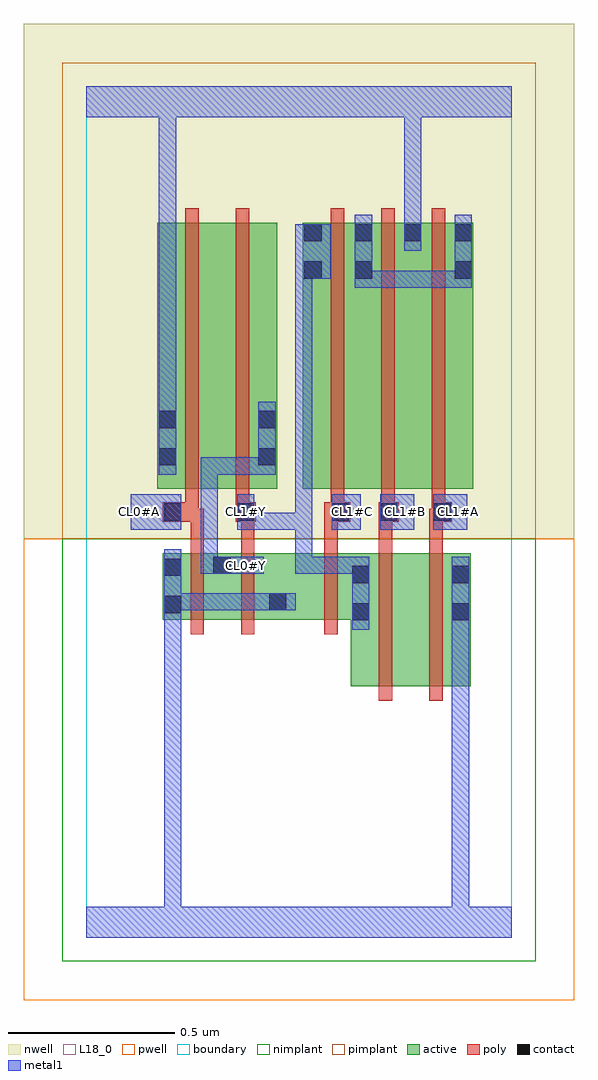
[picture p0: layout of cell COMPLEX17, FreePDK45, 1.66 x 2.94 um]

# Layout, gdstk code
import gdstk
lib = gdstk.Library(unit=1e-6, precision=1e-09)
def R(c, l, rs):  # rectangles x0, y0, x1, y1
    for r in rs: c.add(gdstk.rectangle(r[:2], r[2:], *l))
def A(c, l, x, y, w, h, nx, ny, dx, dy):  # array of equal rectangles
    R(c, l, [(x+i*dx, y+j*dy, x+i*dx+w, y+j*dy+h) for i in range(nx) for j in range(ny)])
active = (1, 0)
pwell = (2, 0)
nwell = (3, 0)
nimplant = (4, 0)
pimplant = (5, 0)
poly = (9, 0)
contact = (10, 0)
metal1 = (11, 0)
L18_0 = (18, 0)
boundary = (235, 0)

complex17 = lib.new_cell('COMPLEX17')
R(complex17, active, [(0.796,0.756,0.856,1.156), (0.796,0.756,0.976,1.156), (0.976,0.756,1.156,1.156), (1.096,0.756,1.156,1.156), (0.23,0.956,0.29,1.156), (0.23,0.956,0.438,1.156), (0.378,0.956,0.438,1.156), (0.378,0.956,0.606,1.156), (0.546,0.956,0.856,1.156), (0.546,0.956,0.606,1.156), (0.214,1.35,0.274,2.044), (0.214,1.35,0.394,2.15), (0.394,1.35,0.574,2.15), (0.514,1.35,0.574,2.044), (0.652,1.35,0.712,2.15), (0.652,1.35,0.864,2.15), (0.804,1.35,1.012,2.15), (0.952,1.35,1.164,2.15), (1.104,1.35,1.164,2.15), (0.804,1.686,0.864,2.15), (0.952,1.686,1.012,2.15)])
R(complex17, pwell, [(-0.188,-0.188,1.468,1.2)])
R(complex17, nwell, [(-0.188,1.2,1.468,2.748)])
R(complex17, nimplant, [(-0.072,-0.072,1.352,1.2)])
R(complex17, pimplant, [(-0.072,1.2,1.352,2.632)])
A(complex17, poly, 0.736, 1.27, 0.04, 0.076, 3, 1, 0.152, 0)
A(complex17, poly, 0.736, 1.306, 0.04, 0.888, 3, 1, 0.152, 0)
R(complex17, poly, [(0.88,0.712,0.92,1.2), (1.032,0.712,1.072,1.2), (0.314,0.912,0.354,1.2), (0.466,0.912,0.506,1.2), (0.716,0.912,0.756,1.2), (0.314,1.16,0.354,1.29), (0.466,1.16,0.506,1.29), (0.716,1.16,0.756,1.29), (0.88,1.16,0.92,1.29), (1.032,1.16,1.072,1.29), (0.23,1.25,0.338,1.31), (0.298,1.25,0.338,1.29), (0.298,1.25,0.354,1.29), (0.45,1.25,0.51,1.31), (0.466,1.25,0.506,1.29), (0.466,1.25,0.506,1.29), (0.716,1.25,0.794,1.31), (0.88,1.25,0.94,1.31), (1.032,1.25,1.08,1.29), (1.04,1.25,1.08,1.29), (1.04,1.25,1.1,1.31), (0.298,1.27,0.338,1.346), (0.45,1.27,0.49,1.346), (0.736,1.27,0.776,1.31), (0.736,1.27,0.776,1.31), (0.888,1.27,0.928,1.31), (0.888,1.27,0.928,1.31), (0.298,1.306,0.338,2.194), (0.45,1.306,0.49,2.194)])
R(complex17, contact, [(0.8,0.954,0.852,1.006), (1.1,0.954,1.152,1.006), (0.234,0.976,0.286,1.028), (0.55,0.984,0.602,1.036), (0.8,1.066,0.852,1.118), (1.1,1.066,1.152,1.118), (0.234,1.088,0.286,1.14), (0.382,1.094,0.434,1.146), (0.234,1.254,0.286,1.306), (0.454,1.254,0.506,1.306), (0.738,1.254,0.79,1.306), (0.884,1.254,0.936,1.306), (1.044,1.254,1.096,1.306), (0.218,1.42,0.27,1.472), (0.518,1.42,0.57,1.472), (0.218,1.532,0.27,1.584), (0.518,1.532,0.57,1.584), (0.656,1.982,0.708,2.034), (0.808,1.982,0.86,2.034), (1.108,1.982,1.16,2.034), (0.656,2.094,0.708,2.146), (0.808,2.094,0.86,2.146), (0.956,2.094,1.008,2.146), (1.108,2.094,1.16,2.146)])
R(complex17, metal1, [(0,0,1.28,0.092), (0.234,0.04,0.286,0.092), (0.234,0.04,0.286,0.092), (0.234,0.04,0.286,0.092), (0.234,0.04,0.286,0.092), (0.234,0.04,0.286,0.092), (0.234,0.04,0.286,0.092), (0.234,0.04,0.286,0.092), (0.234,0.04,0.286,0.092), (0.234,0.04,0.286,0.092), (0.234,0.04,0.286,0.092), (0.234,0.04,0.286,0.092), (0.234,0.04,0.286,0.092), (0.234,0.04,0.286,0.092), (0.234,0.04,0.286,0.092), (0.234,0.04,0.286,0.092), (0.234,0.04,0.286,0.092), (0.234,0.04,0.286,1), (1.1,0.04,1.152,0.768), (1.1,0.716,1.152,0.978), (1.1,0.716,1.152,0.768), (1.1,0.716,1.152,0.768), (1.1,0.716,1.152,0.768), (1.1,0.716,1.152,0.768), (1.1,0.716,1.152,0.768), (1.1,0.716,1.152,0.768), (1.1,0.716,1.152,0.768), (1.1,0.716,1.152,0.768), (1.1,0.716,1.152,0.768), (1.1,0.716,1.152,0.768), (1.1,0.716,1.152,0.768), (0.8,0.926,0.852,1.146), (1.1,0.926,1.152,1.146), (0.234,0.948,0.286,1.168), (0.234,0.984,0.286,1.036), (0.234,0.984,0.286,1.036), (0.234,0.984,0.396,1.036), (0.344,0.984,0.396,1.036), (0.344,0.984,0.396,1.036), (0.344,0.984,0.396,1.036), (0.344,0.984,0.574,1.036), (0.522,0.984,0.63,1.036), (0.344,1.094,0.396,1.146), (0.344,1.094,0.396,1.146), (0.344,1.094,0.396,1.444), (0.344,1.094,0.534,1.146), (0.354,1.094,0.462,1.146), (0.41,1.094,0.462,1.146), (0.628,1.094,0.68,1.146), (0.628,1.094,0.75,1.146), (0.628,1.094,0.68,1.278), (0.698,1.094,0.75,1.146), (0.698,1.094,0.852,1.146), (0.134,1.226,0.286,1.334), (0.454,1.226,0.506,1.334), (0.454,1.226,0.592,1.278), (0.54,1.226,0.592,1.278), (0.54,1.226,0.68,1.278), (0.628,1.226,0.68,1.278), (0.628,1.226,0.68,1.278), (0.628,1.226,0.68,1.278), (0.628,1.226,0.68,2.034), (0.738,1.226,0.826,1.334), (0.884,1.226,0.986,1.334), (1.044,1.226,1.146,1.334), (0.218,1.392,0.27,1.612), (0.344,1.392,0.396,1.444), (0.344,1.392,0.57,1.444), (0.518,1.392,0.57,1.612), (0.518,1.392,0.57,1.444), (0.518,1.392,0.57,1.444), (0.218,1.56,0.27,1.612), (0.218,1.56,0.27,1.612), (0.218,1.56,0.27,2.52), (0.808,1.954,0.86,2.174), (0.808,1.954,0.86,2.006), (0.808,1.954,0.86,2.006), (0.808,1.954,0.97,2.006), (0.918,1.954,1.16,2.006), (0.918,1.954,0.97,2.006), (0.918,1.954,0.97,2.006), (0.918,1.954,0.97,2.006), (1.108,1.954,1.16,2.174), (0.628,1.982,0.736,2.146), (0.956,2.066,1.008,2.174), (0.956,2.122,1.008,2.52), (0,2.468,1.28,2.56), (0.218,2.468,0.27,2.52), (0.218,2.468,0.27,2.52), (0.218,2.468,0.27,2.52), (0.218,2.468,0.27,2.52), (0.218,2.468,0.27,2.52), (0.218,2.468,0.27,2.52), (0.956,2.468,1.008,2.52), (0.956,2.468,1.008,2.52), (0.956,2.468,1.008,2.52), (0.956,2.468,1.008,2.52), (0.956,2.468,1.008,2.52), (0.956,2.468,1.008,2.52), (0.956,2.468,1.008,2.52), (0.956,2.468,1.008,2.52)])
A(complex17, L18_0, 0.134, 1.254, 0.052, 0.052, 3, 1, 0.32, 0)
R(complex17, L18_0, [(0,0,1.28,0.092), (0.234,0.04,0.286,0.092), (0.234,0.04,0.286,0.092), (0.234,0.04,0.286,0.092), (0.234,0.04,0.286,0.092), (0.234,0.04,0.286,0.092), (0.234,0.04,0.286,0.092), (0.234,0.04,0.286,0.092), (0.234,0.04,0.286,0.092), (0.234,0.04,0.286,0.092), (0.234,0.04,0.286,0.092), (0.234,0.04,0.286,0.092), (0.234,0.04,0.286,0.092), (0.234,0.04,0.286,0.092), (0.234,0.04,0.286,0.092), (0.234,0.04,0.286,0.092), (0.234,0.04,0.286,0.092), (0.234,0.04,0.286,1), (1.1,0.04,1.152,0.768), (1.1,0.716,1.152,0.768), (1.1,0.716,1.152,0.768), (1.1,0.716,1.152,0.768), (1.1,0.716,1.152,0.768), (1.1,0.716,1.152,0.768), (1.1,0.716,1.152,0.768), (1.1,0.716,1.152,0.768), (1.1,0.716,1.152,0.768), (1.1,0.716,1.152,0.768), (1.1,0.716,1.152,0.768), (1.1,0.716,1.152,0.768), (1.1,0.716,1.152,0.978), (0.8,0.926,0.852,1.146), (1.1,0.926,1.152,1.146), (0.234,0.948,0.286,1.168), (0.234,0.984,0.286,1.036), (0.234,0.984,0.286,1.036), (0.234,0.984,0.396,1.036), (0.344,0.984,0.396,1.036), (0.344,0.984,0.396,1.036), (0.344,0.984,0.396,1.036), (0.344,0.984,0.574,1.036), (0.522,0.984,0.63,1.036), (0.344,1.094,0.396,1.146), (0.344,1.094,0.396,1.146), (0.344,1.094,0.534,1.146), (0.344,1.094,0.396,1.444), (0.354,1.094,0.462,1.146), (0.41,1.094,0.462,1.146), (0.454,1.094,0.506,1.146), (0.628,1.094,0.68,1.146), (0.628,1.094,0.68,1.278), (0.628,1.094,0.75,1.146), (0.698,1.094,0.75,1.146), (0.698,1.094,0.852,1.146), (0.134,1.226,0.286,1.334), (0.454,1.226,0.506,1.334), (0.454,1.226,0.592,1.278), (0.54,1.226,0.592,1.278), (0.54,1.226,0.68,1.278), (0.628,1.226,0.68,1.278), (0.628,1.226,0.68,1.278), (0.628,1.226,0.68,1.278), (0.628,1.226,0.68,2.034), (0.738,1.226,0.826,1.334), (0.884,1.226,0.986,1.334), (1.044,1.226,1.146,1.334), (0.934,1.254,0.986,1.306), (1.094,1.254,1.146,1.306), (0.218,1.392,0.27,1.612), (0.344,1.392,0.396,1.444), (0.344,1.392,0.57,1.444), (0.518,1.392,0.57,1.444), (0.518,1.392,0.57,1.444), (0.518,1.392,0.57,1.612), (0.218,1.56,0.27,1.612), (0.218,1.56,0.27,1.612), (0.218,1.56,0.27,2.52), (0.628,1.982,0.736,2.146), (0.956,2.066,1.008,2.174), (0.956,2.122,1.008,2.52), (0,2.468,1.28,2.56), (0.218,2.468,0.27,2.52), (0.218,2.468,0.27,2.52), (0.218,2.468,0.27,2.52), (0.218,2.468,0.27,2.52), (0.218,2.468,0.27,2.52), (0.218,2.468,0.27,2.52), (0.956,2.468,1.008,2.52), (0.956,2.468,1.008,2.52), (0.956,2.468,1.008,2.52), (0.956,2.468,1.008,2.52), (0.956,2.468,1.008,2.52), (0.956,2.468,1.008,2.52), (0.956,2.468,1.008,2.52), (0.956,2.468,1.008,2.52)])
R(complex17, boundary, [(0,0,1.28,2.56)])
complex17.add(gdstk.Label('CL0#A', (0.16,1.28), layer=11, texttype=0))
complex17.add(gdstk.Label('CL0#Y', (0.48,1.12), layer=11, texttype=0))
complex17.add(gdstk.Label('CL1#A', (1.12,1.28), layer=11, texttype=0))
complex17.add(gdstk.Label('CL1#B', (0.96,1.28), layer=11, texttype=0))
complex17.add(gdstk.Label('CL1#C', (0.8,1.28), layer=11, texttype=0))
complex17.add(gdstk.Label('CL1#Y', (0.48,1.28), layer=11, texttype=0))

lib.write_gds('COMPLEX17.gds')
